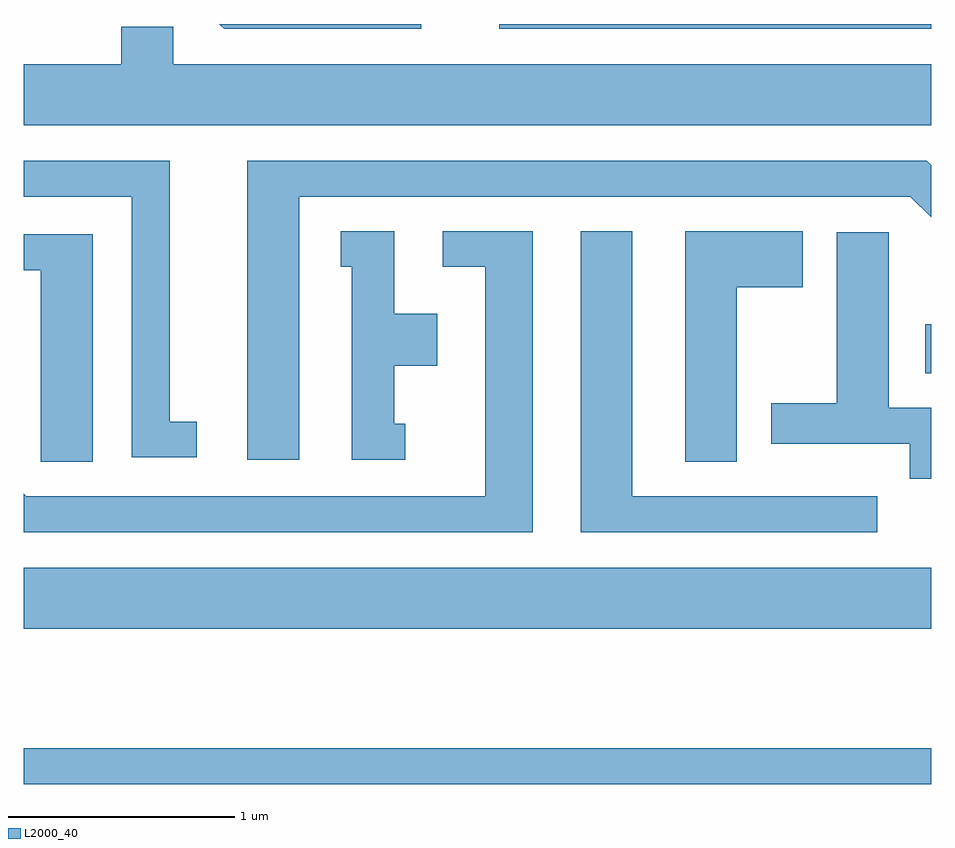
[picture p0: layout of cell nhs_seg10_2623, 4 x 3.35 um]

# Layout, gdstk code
import gdstk
lib = gdstk.Library(unit=1e-6, precision=1e-09)
def R(c, l, rs):  # rectangles x0, y0, x1, y1
    for r in rs: c.add(gdstk.rectangle(r[:2], r[2:], *l))
def P(c, l, *ps):  # polygons
    for p in ps: c.add(gdstk.Polygon(p, *l))
L2000_40 = (2000, 40)

nhs_seg10_2623 = lib.new_cell('nhs_seg10_2623')
R(nhs_seg10_2623, L2000_40, [(261.611,2173.171,265.611,2173.329), (261.611,2173.856,265.611,2174.124), (265.586,2174.981,265.611,2175.199), (263.706,2176.501,265.611,2176.522)])
P(nhs_seg10_2623, L2000_40, [(263.364,2176.522),(262.473,2176.522),(262.494,2176.501),(263.364,2176.501)],
  [(265.611,2176.344),(262.269,2176.344),(262.269,2176.509),(262.041,2176.509),(262.041,2176.344),(261.611,2176.344),(261.611,2176.076),(265.611,2176.076)],
  [(262.824,2175.761),(265.519,2175.761),(265.611,2175.669),(265.611,2175.9),(265.592,2175.919),(262.596,2175.919),(262.596,2174.601),(262.824,2174.601)],
  [(262.373,2174.769),(262.254,2174.769),(262.254,2175.919),(261.611,2175.919),(261.611,2175.761),(262.086,2175.761),(262.086,2174.611),(262.373,2174.611)],
  [(263.293,2174.759),(263.244,2174.759),(263.244,2175.016),(263.434,2175.016),(263.434,2175.244),(263.244,2175.244),(263.244,2175.609),(263.008,2175.609),(263.008,2175.451),(263.056,2175.451),(263.056,2174.601),(263.293,2174.601)],
  [(263.854,2175.609),(263.458,2175.609),(263.458,2175.451),(263.646,2175.451),(263.646,2174.439),(261.622,2174.439),(261.611,2174.45),(261.611,2174.281),(263.854,2174.281)],
  [(264.754,2175.361),(265.044,2175.361),(265.044,2175.609),(264.526,2175.609),(264.526,2174.591),(264.754,2174.591)],
  [(265.373,2174.439),(264.294,2174.439),(264.294,2175.609),(264.066,2175.609),(264.066,2174.281),(265.373,2174.281)],
  [(265.611,2174.829),(265.424,2174.829),(265.424,2175.604),(265.196,2175.604),(265.196,2174.849),(264.906,2174.849),(264.906,2174.671),(265.516,2174.671),(265.516,2174.518),(265.611,2174.518)],
  [(261.914,2175.594),(261.611,2175.594),(261.611,2175.436),(261.686,2175.436),(261.686,2174.591),(261.914,2174.591)])

lib.write_gds('nhs_seg10_2623.gds')
